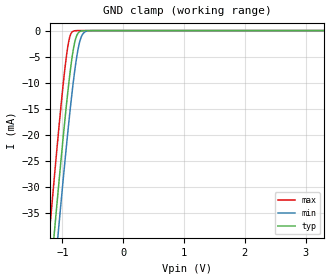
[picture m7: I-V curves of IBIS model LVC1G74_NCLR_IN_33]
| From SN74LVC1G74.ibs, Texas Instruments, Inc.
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[Model]   LVC1G74_NCLR_IN_33
Model_type  Input
Vinl=0.8
Vinh=2.0
| variable   typ   min   max
C_comp   3.34pF   2.69pF   4.32pF
[Temperature Range]   40   100   -40
| Ambient temperature   25   85   -40
[Voltage range]   3.3   3   3.6
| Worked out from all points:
|   GND clamp passes 1 mA (typ) near -0.77 V on its own axis
[GND Clamp]
| LVC1G74_NCLR_IN_33
|   Voltage   I(typ)   I(min)   I(max)
-5.5V     -655.2mA   -662.2mA   -646.6mA
-1.225V   -50.93mA   -59.21mA   -40.3mA
-1.145V   -40.37mA   -48.66mA   -29.72mA
-1.12V    -37.12mA   -45.41mA   -26.48mA
-1.08V    -31.98mA   -40.25mA   -21.38mA
-1.06V    -29.44mA   -37.69mA   -18.89mA
-965mV    -17.84mA   -25.87mA   -7.89mA
-885mV    -9.098mA   -16.55mA   -1.486mA
-780mV    -1.472mA   -6.227mA   -17.15uA
-715mV    -205.4uA   -2.128mA   -808.5nA
-640mV    -15.53uA   -338.1uA   -23.69nA
3.3V      6.304pA    9.258pA    5.93pA
